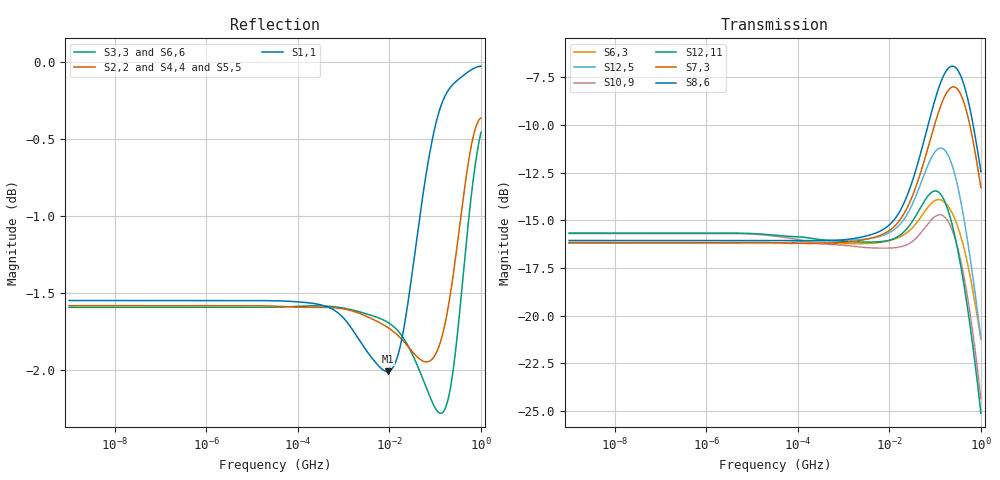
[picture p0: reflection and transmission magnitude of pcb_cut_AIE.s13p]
! Touchstone file exported from Ansys Full-Wave Spice
! Project: 0000_PSI_S-parameter_Sweep
!  Design: unknown
! Creation time: Tue Apr 22 09:49:36 2025
! Notes: ! Touchstone(R) file created by SIwave 2025 R1
!  : ! Touchstone(R) file created on Tue Apr 22 09:49:36 2025
# HZ S RI R 0.1
! Modal data exported
! Port[1] = PORT_5_L29_SOC_VNPU_Group_U43_GND_Group
! Port[2] = PORT_6_U1_SOC_VNPU_Group_U1_GRP_1_1_GND
! Port[3] = SOC_VNPU_C483_1
! Port[4] = SOC_VNPU_C484_1
! Port[5] = SOC_VNPU_C486_1
! Port[6] = SOC_VNPU_C487_1
! Port[7] = SOC_VNPU_C488_1
! Port[8] = SOC_VNPU_C489_1
! Port[9] = SOC_VNPU_C556_1
! Port[10] = SOC_VNPU_C556_3
! Port[11] = SOC_VNPU_C558_1
! Port[12] = SOC_VNPU_C558_3
! Port[13] = SOC_VNPU_C647_1
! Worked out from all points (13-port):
!   420 points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, 1 Hz to 1 GHz, reference 0.1 ohm
!   strongest paths, dB at 1 Hz, 3.687 kHz, 11.66 MHz, 482.9 MHz, 1 GHz:
!     S8,6: -16.1, -16.1, -15.1, -8.4, -12.4
!     S7,3: -16.2, -16.2, -15.4, -9.3, -13.3
!     S12,11: -15.7, -15.7, -16.0, -19.2, -25.1
!     S10,9: -15.7, -15.7, -16.4, -18.7, -24.4
!     S12,5: -16.2, -16.2, -15.6, -15.7, -21.2
!     S6,3: -16.2, -16.2, -16.0, -17.0, -21.2
!   lowest |S11| = -2.0 dB at 9.261 MHz (marker M1), VSWR 8.67, Z = 0.013 + j0.0359 ohm
!   |S11| at or under -10 dB: nowhere
